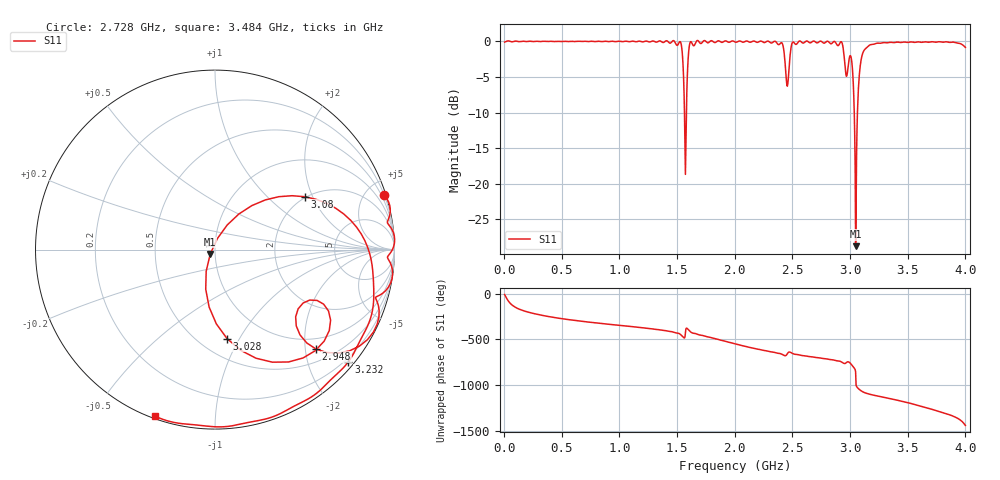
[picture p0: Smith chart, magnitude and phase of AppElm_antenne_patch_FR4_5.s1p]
! TOUCHSTONE file generated by CST MICROWAVE STUDIO
! Date and time: Tue Jun  7 20:51:55 2022
! Project name: AppElm_antenne_patch_FR4.cst
! Parameters = {L=45; W=58.5; e=0.035; h=1.6; lambda=0.190476; ls=120; w0=1.6; w1=0.533333; ws=120; y0=20; y1=22.62}
! Header version: 2018
! Port assignment regex: !\s*Touchstone port\s*([0-9]+)\s*=\s*(CST MWS port|CST DS port)\s*([0-9]+|Zmin|Zmax)\s*\(\"(.*)\"\)(\s*mode\s*([0-9]+))?.*
! Touchstone port assignment:
! Touchstone port 1 = CST MWS port 1 ("")
# GHz S MA R 50
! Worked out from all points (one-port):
!   1000 points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, 4 MHz to 4 GHz, reference 50 ohm
!   lowest |S11| = -28.8 dB at 3.048 GHz (marker M1), VSWR 1.08, Z = 47.4 - j2.37 ohm
!   |S11| at or under -10 dB: 1.564 GHz to 1.58 GHz (16.55 MHz wide, 1.05 % of centre); 3.036 GHz to 3.064 GHz (27.65 MHz wide, 0.907 % of centre)
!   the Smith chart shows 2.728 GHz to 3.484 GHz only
!   S11 on the Smith chart (normalised r, x): 2.728 GHz: 0.24, +6.34; 2.948 GHz: 0.76, -2.22; 3.028 GHz: 0.67, -0.89; 3.08 GHz: 1.97, +1.75; 3.232 GHz: 0.13, -2.74; 3.484 GHz: 0.01, -0.70
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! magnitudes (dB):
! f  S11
! 4 MHz  -0.1
! 504 MHz  0.0
! 1.004 GHz  0.0
! 1.504 GHz  -0.5
! 1.536 GHz  -0.4
! 1.56 GHz  -7.2
! 1.572 GHz  -18.7
! 1.588 GHz  -5.1
! 1.604 GHz  -0.9
! 1.62 GHz  0.0
! 2.004 GHz  -0.1
! 2.4 GHz  -0.2
! 2.456 GHz  -6.3
! 2.504 GHz  -0.1
! 2.728 GHz  -0.1
! 2.92 GHz  0.0
! 2.948 GHz  -2.1
! 3.004 GHz  -2.0
! 3.02 GHz  -3.8
! 3.028 GHz  -6.0
! 3.048 GHz  -28.8
! 3.064 GHz  -9.9
! 3.08 GHz  -4.7
! 3.12 GHz  -1.3
! 3.232 GHz  -0.3
! 3.484 GHz  -0.1
! 3.504 GHz  -0.1
! 4 GHz  -0.8
